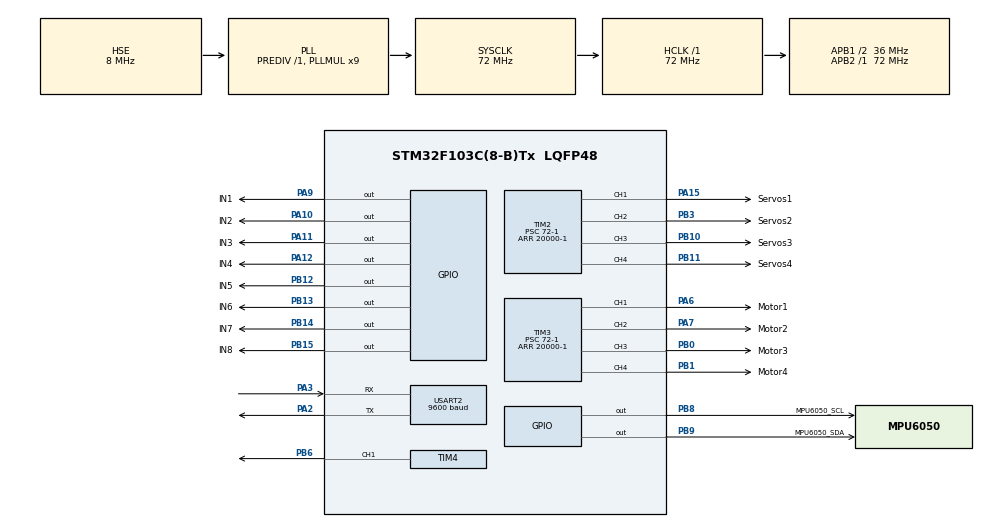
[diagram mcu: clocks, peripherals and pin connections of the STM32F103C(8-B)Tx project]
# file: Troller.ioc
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Dma.Request0=TIM4_CH1
Dma.TIM4_CH1.0.Direction=DMA_PERIPH_TO_MEMORY
Dma.TIM4_CH1.0.Instance=DMA1_Channel1
Dma.TIM4_CH1.0.MemDataAlignment=DMA_MDATAALIGN_BYTE
Dma.TIM4_CH1.0.MemInc=DMA_MINC_ENABLE
Dma.TIM4_CH1.0.Mode=DMA_NORMAL
Dma.TIM4_CH1.0.PeriphDataAlignment=DMA_PDATAALIGN_BYTE
Dma.TIM4_CH1.0.PeriphInc=DMA_PINC_DISABLE
Dma.TIM4_CH1.0.Priority=DMA_PRIORITY_LOW
FREERTOS.Tasks01=ChassisTask,24,128,ChassisTask_callback,Default,NULL,Dynamic,NULL,NULL;GimbalTask,8,128,GimbalTask_callback,Default,NULL,Dynamic,NULL,NULL;BluetoothTask,8,128,BluetoothTask_callback,Default,NULL,Dynamic,NULL,NULL
Mcu.Family=STM32F1
Mcu.Name=STM32F103C(8-B)Tx
Mcu.Package=LQFP48
NVIC.DMA1_Channel1_IRQn=true\:5\:0\:false\:false\:true\:true\:false\:true\:true
NVIC.PriorityGroup=NVIC_PRIORITYGROUP_4
NVIC.TIM1_UP_IRQn=true\:15\:0\:false\:false\:true\:false\:false\:true\:true
NVIC.TimeBase=TIM1_UP_IRQn
NVIC.TimeBaseIP=TIM1
NVIC.USART2_IRQn=true\:5\:0\:false\:false\:true\:true\:true\:true\:true
PA10.GPIO_Label=IN2
PA10.GPIO_Speed=GPIO_SPEED_FREQ_HIGH
PA10.Signal=GPIO_Output
PA11.GPIO_Label=IN3
PA11.GPIO_Speed=GPIO_SPEED_FREQ_HIGH
PA11.Signal=GPIO_Output
PA12.GPIO_Label=IN4
PA12.GPIO_Speed=GPIO_SPEED_FREQ_HIGH
PA12.Signal=GPIO_Output
PA13.Mode=Serial_Wire
PA13.Signal=SYS_JTMS-SWDIO
PA14.Mode=Serial_Wire
PA14.Signal=SYS_JTCK-SWCLK
PA15.GPIO_Label=Servos1
PA15.GPIO_Speed=GPIO_SPEED_FREQ_HIGH
PA15.Signal=S_TIM2_CH1_ETR
PA2.Mode=Asynchronous
PA2.Signal=USART2_TX
PA3.Mode=Asynchronous
PA3.Signal=USART2_RX
PA6.GPIO_Label=Motor1
PA6.GPIO_Speed=GPIO_SPEED_FREQ_HIGH
PA6.Signal=S_TIM3_CH1
PA7.GPIO_Label=Motor2
PA7.GPIO_Speed=GPIO_SPEED_FREQ_HIGH
PA7.Signal=S_TIM3_CH2
PA9.GPIO_Label=IN1
PA9.GPIO_Speed=GPIO_SPEED_FREQ_HIGH
PA9.Signal=GPIO_Output
PB0.GPIO_Label=Motor3
PB0.GPIO_Speed=GPIO_SPEED_FREQ_HIGH
PB0.Signal=S_TIM3_CH3
PB1.GPIO_Label=Motor4
PB1.GPIO_Speed=GPIO_SPEED_FREQ_HIGH
PB1.Signal=S_TIM3_CH4
PB10.GPIO_Label=Servos3
PB10.GPIO_Speed=GPIO_SPEED_FREQ_HIGH
PB10.Signal=S_TIM2_CH3
PB11.GPIO_Label=Servos4
PB11.GPIO_Speed=GPIO_SPEED_FREQ_HIGH
PB11.Signal=S_TIM2_CH4
PB12.GPIO_Label=IN5
PB12.GPIO_Speed=GPIO_SPEED_FREQ_HIGH
PB12.PinState=GPIO_PIN_RESET
PB12.Signal=GPIO_Output
PB13.GPIO_Label=IN6
PB13.GPIO_Speed=GPIO_SPEED_FREQ_HIGH
PB13.Signal=GPIO_Output
PB14.GPIO_Label=IN7
PB14.GPIO_Speed=GPIO_SPEED_FREQ_HIGH
PB14.Signal=GPIO_Output
PB15.GPIO_Label=IN8
PB15.GPIO_Speed=GPIO_SPEED_FREQ_HIGH
PB15.Signal=GPIO_Output
PB3.GPIO_Label=Servos2
PB3.GPIO_Speed=GPIO_SPEED_FREQ_HIGH
PB3.Signal=S_TIM2_CH2
PB6.Signal=S_TIM4_CH1
PB8.GPIO_Label=MPU6050_SCL
PB8.GPIO_ModeDefaultOutputPP=GPIO_MODE_OUTPUT_OD
PB8.GPIO_PuPd=GPIO_PULLUP
PB8.GPIO_Speed=GPIO_SPEED_FREQ_HIGH
PB8.PinState=GPIO_PIN_RESET
PB8.Signal=GPIO_Output
PB9.GPIO_Label=MPU6050_SDA
PB9.GPIO_ModeDefaultOutputPP=GPIO_MODE_OUTPUT_OD
PB9.GPIO_PuPd=GPIO_PULLUP
PB9.GPIO_Speed=GPIO_SPEED_FREQ_HIGH
PB9.Signal=GPIO_Output
PC14-OSC32_IN.Mode=LSE-External-Oscillator
PC14-OSC32_IN.Signal=RCC_OSC32_IN
PC15-OSC32_OUT.Mode=LSE-External-Oscillator
PC15-OSC32_OUT.Signal=RCC_OSC32_OUT
PD0-OSC_IN.Mode=HSE-External-Oscillator
PD0-OSC_IN.Signal=RCC_OSC_IN
PD1-OSC_OUT.Mode=HSE-External-Oscillator
PD1-OSC_OUT.Signal=RCC_OSC_OUT
ProjectManager.HeapSize=0x200
ProjectManager.StackSize=0x400
ProjectManager.TargetToolchain=MDK-ARM V5.32
RCC.AHBFreq_Value=72000000
RCC.APB1CLKDivider=RCC_HCLK_DIV2
RCC.APB1Freq_Value=36000000
RCC.APB1TimFreq_Value=72000000
RCC.APB2Freq_Value=72000000
RCC.APB2TimFreq_Value=72000000
RCC.HCLKFreq_Value=72000000
RCC.PLLMUL=RCC_PLL_MUL9
RCC.PLLSourceVirtual=RCC_PLLSOURCE_HSE
RCC.SYSCLKFreq_VALUE=72000000
RCC.SYSCLKSource=RCC_SYSCLKSOURCE_PLLCLK
RCC.USBFreq_Value=72000000
SH.S_TIM2_CH1_ETR.0=TIM2_CH1,PWM Generation1 CH1
SH.S_TIM2_CH2.0=TIM2_CH2,PWM Generation2 CH2
SH.S_TIM2_CH3.0=TIM2_CH3,PWM Generation3 CH3
SH.S_TIM2_CH4.0=TIM2_CH4,PWM Generation4 CH4
SH.S_TIM3_CH1.0=TIM3_CH1,PWM Generation1 CH1
SH.S_TIM3_CH2.0=TIM3_CH2,PWM Generation2 CH2
SH.S_TIM3_CH3.0=TIM3_CH3,PWM Generation3 CH3
SH.S_TIM3_CH4.0=TIM3_CH4,PWM Generation4 CH4
SH.S_TIM4_CH1.0=TIM4_CH1,PWM Generation1 CH1
TIM2.Channel-PWM\ Generation1\ CH1=TIM_CHANNEL_1
TIM2.Channel-PWM\ Generation2\ CH2=TIM_CHANNEL_2
TIM2.Channel-PWM\ Generation3\ CH3=TIM_CHANNEL_3
TIM2.Channel-PWM\ Generation4\ CH4=TIM_CHANNEL_4
TIM2.Period=20000-1
TIM2.Prescaler=72-1
TIM3.Channel-PWM\ Generation1\ CH1=TIM_CHANNEL_1
TIM3.Channel-PWM\ Generation2\ CH2=TIM_CHANNEL_2
TIM3.Channel-PWM\ Generation3\ CH3=TIM_CHANNEL_3
TIM3.Channel-PWM\ Generation4\ CH4=TIM_CHANNEL_4
TIM3.Period=20000-1
TIM3.Prescaler=72-1
TIM4.Channel-PWM\ Generation1\ CH1=TIM_CHANNEL_1
USART2.BaudRate=9600
USART2.VirtualMode=VM_ASYNC
VP_FREERTOS_VS_CMSIS_V2.Mode=CMSIS_V2
VP_SYS_VS_tim1.Mode=TIM1
VP_TIM2_VS_ClockSourceINT.Mode=Internal
VP_TIM3_VS_ClockSourceINT.Mode=Internal
board=custom

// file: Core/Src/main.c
/* USER CODE BEGIN Header */
/**
  ******************************************************************************
  * @file           : main.c
  * @brief          : Main program body
  ******************************************************************************
  * @attention
  *
  * Copyright (c) 2024 STMicroelectronics.
  * All rights reserved.
  *
  * This software is licensed under terms that can be found in the LICENSE file
  * in the root directory of this software component.
  * If no LICENSE file comes with this software, it is provided AS-IS.
  *
  ******************************************************************************
  */
/* USER CODE END Header */
#include "main.h"
#include "cmsis_os.h"
#include "dma.h"
#include "tim.h"
#include "usart.h"
#include "gpio.h"

/* USER CODE BEGIN Includes */

#include "servo.h"
#include "motor.h"
#include "bluetooth.h"
#include "chassis_move.h"
#include "global.h"
#include "control.h"
#include "MPU_Updata.h"

#include "WS2812.h"

/* USER CODE END Includes */

void SystemClock_Config(void);
void MX_FREERTOS_Init(void);

/* USER CODE BEGIN 0 */
	int8_t bluetooth_key = 0;
/* USER CODE END 0 */

int main(void)
{

  /* MCU Configuration--------------------------------------------------------*/

  /* Reset of all peripherals, Initializes the Flash interface and the Systick. */
  HAL_Init();

  /* Configure the system clock */
  SystemClock_Config();

  /* Initialize all configured peripherals */
  MX_GPIO_Init();
  MX_DMA_Init();
  MX_TIM2_Init();
  MX_TIM3_Init();
  MX_USART2_UART_Init();
  MX_TIM4_Init();
  /* USER CODE BEGIN 2 */

	Motor_Init();//马达初始化
	Servo_Init();//舵机初始化
	Global_init();//全局状态初始化
	chassis_move_init();//底盘运动初始化
	mpu6050_Init();

	WS28xx_TypeStructInit();
/*开启串口2的接收中断*/
	HAL_UART_Receive_IT(&huart2,(uint8_t *)&USART2_NewData,1);
  /* USER CODE END 2 */

  /* Init scheduler */
  osKernelInitialize();

  /* Call init function for freertos objects (in cmsis_os2.c) */
  MX_FREERTOS_Init();

  /* Start scheduler */
  osKernelStart();

  /* We should never get here as control is now taken by the scheduler */

  /* Infinite loop */
  while (1)
  {

  }
}

void SystemClock_Config(void)
{
  RCC_OscInitTypeDef RCC_OscInitStruct = {0};
  RCC_ClkInitTypeDef RCC_ClkInitStruct = {0};

  /** Initializes the RCC Oscillators according to the specified parameters
  * in the RCC_OscInitTypeDef structure.
  */
  RCC_OscInitStruct.OscillatorType = RCC_OSCILLATORTYPE_HSE;
  RCC_OscInitStruct.HSEState = RCC_HSE_ON;
  RCC_OscInitStruct.HSEPredivValue = RCC_HSE_PREDIV_DIV1;
  RCC_OscInitStruct.HSIState = RCC_HSI_ON;
  RCC_OscInitStruct.PLL.PLLState = RCC_PLL_ON;
  RCC_OscInitStruct.PLL.PLLSource = RCC_PLLSOURCE_HSE;
  RCC_OscInitStruct.PLL.PLLMUL = RCC_PLL_MUL9;
  if (HAL_RCC_OscConfig(&RCC_OscInitStruct) != HAL_OK)
  {
    Error_Handler();
  }

  /** Initializes the CPU, AHB and APB buses clocks
  */
  RCC_ClkInitStruct.ClockType = RCC_CLOCKTYPE_HCLK|RCC_CLOCKTYPE_SYSCLK
                              |RCC_CLOCKTYPE_PCLK1|RCC_CLOCKTYPE_PCLK2;
  RCC_ClkInitStruct.SYSCLKSource = RCC_SYSCLKSOURCE_PLLCLK;
  RCC_ClkInitStruct.AHBCLKDivider = RCC_SYSCLK_DIV1;
  RCC_ClkInitStruct.APB1CLKDivider = RCC_HCLK_DIV2;
  RCC_ClkInitStruct.APB2CLKDivider = RCC_HCLK_DIV1;

  if (HAL_RCC_ClockConfig(&RCC_ClkInitStruct, FLASH_LATENCY_2) != HAL_OK)
  {
    Error_Handler();
  }
}

void HAL_TIM_PeriodElapsedCallback(TIM_HandleTypeDef *htim)
{
  if (htim->Instance == TIM1) {
    HAL_IncTick();
  }
}

void Error_Handler(void)
{
  __disable_irq();
  while (1)
  {
  }
}

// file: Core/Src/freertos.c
/* USER CODE BEGIN Header */
/**
  ******************************************************************************
  * File Name          : freertos.c
  * Description        : Code for freertos applications
  ******************************************************************************
  * @attention
  *
  * Copyright (c) 2024 STMicroelectronics.
  * All rights reserved.
  *
  * This software is licensed under terms that can be found in the LICENSE file
  * in the root directory of this software component.
  * If no LICENSE file comes with this software, it is provided AS-IS.
  *
  ******************************************************************************
  */
/* USER CODE END Header */

#include "FreeRTOS.h"
#include "task.h"
#include "main.h"
#include "cmsis_os.h"

/* USER CODE BEGIN Includes */
#include "Servo.h"
#include "global.h"
#include "control.h"
#include "chassis_move.h"
#include "robot_arm.h"
/* USER CODE END Includes */

/* Definitions for ChassisTask */
osThreadId_t ChassisTaskHandle;
const osThreadAttr_t ChassisTask_attributes = {
  .name = "ChassisTask",
  .stack_size = 128 * 4,
  .priority = (osPriority_t) osPriorityNormal,
};
/* Definitions for GimbalTask */
osThreadId_t GimbalTaskHandle;
const osThreadAttr_t GimbalTask_attributes = {
  .name = "GimbalTask",
  .stack_size = 128 * 4,
  .priority = (osPriority_t) osPriorityLow,
};
/* Definitions for BluetoothTask */
osThreadId_t BluetoothTaskHandle;
const osThreadAttr_t BluetoothTask_attributes = {
  .name = "BluetoothTask",
  .stack_size = 128 * 4,
  .priority = (osPriority_t) osPriorityLow,
};

void ChassisTask_callback(void *argument);
void GimbalTask_callback(void *argument);
void BluetoothTask_callback(void *argument);

void MX_FREERTOS_Init(void); /* (MISRA C 2004 rule 8.1) */

void MX_FREERTOS_Init(void) {

  /* Create the thread(s) */
  /* creation of ChassisTask */
  ChassisTaskHandle = osThreadNew(ChassisTask_callback, NULL, &ChassisTask_attributes);

  /* creation of GimbalTask */
  GimbalTaskHandle = osThreadNew(GimbalTask_callback, NULL, &GimbalTask_attributes);

  /* creation of BluetoothTask */
  BluetoothTaskHandle = osThreadNew(BluetoothTask_callback, NULL, &BluetoothTask_attributes);

}

void ChassisTask_callback(void *argument)
{
  /* USER CODE BEGIN ChassisTask_callback */
  /* Infinite loop */
  for(;;)
  {
	chassis_set_speed();
    osDelay(10);
  }
  /* USER CODE END ChassisTask_callback */
}

void GimbalTask_callback(void *argument)
{
  /* USER CODE BEGIN GimbalTask_callback */
  /* Infinite loop */
  for(;;)
  {
	robot_arm_set();
    osDelay(10);
  }
  /* USER CODE END GimbalTask_callback */
}

void BluetoothTask_callback(void *argument)
{
  /* USER CODE BEGIN BluetoothTask_callback */
  /* Infinite loop */
  for(;;)
  {
	control_tack();
    osDelay(10);
  }
  /* USER CODE END BluetoothTask_callback */
}
